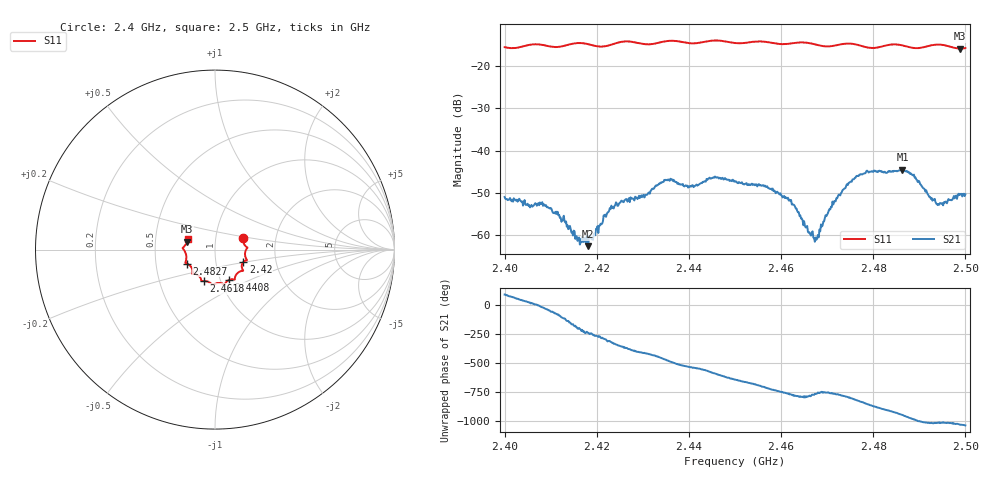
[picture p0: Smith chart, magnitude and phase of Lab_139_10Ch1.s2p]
# Hz S RI R 50
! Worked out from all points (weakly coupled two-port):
!   601 points, 2.4 GHz to 2.5 GHz, reference 50 ohm
!   highest |S21| = -44.46 dB at 2.4863 GHz (marker M1); lowest = -62.6 dB at 2.418 GHz (marker M2)
!   lowest |S11| = -15.8 dB at 2.4988 GHz (marker M3), VSWR 1.39, Z = 36.4 + j3.33 ohm
!   |S11| at or under -10 dB: start of sweep to end of sweep
!   S12 and S22 are empty: the file has one direction only
!   S11 on the Smith chart (normalised r, x): 2.4 GHz: 1.36, +0.17; 2.42 GHz: 1.36, -0.19; 2.4408 GHz: 1.10, -0.39; 2.4618 GHz: 0.84, -0.30; 2.4827 GHz: 0.72, -0.12; 2.5 GHz: 0.73, +0.09
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2.4e9  0.1561 0.062  -9.63e-05 0.00283  0 0  0 0
2.4085e9  0.1772 0.00581  0.00213 -0.000926  0 0  0 0
2.416667e9  0.178 -0.0594  -0.000606 0.000556  0 0  0 0
2.418e9  0.1724 -0.0608  -0.000393 0.00063  0 0  0 0
2.42e9  0.158 -0.0692  -8.02e-05 0.0012  0 0  0 0
2.423667e9  0.1508 -0.1049  0.00186 0.000916  0 0  0 0
2.433333e9  0.112 -0.1521  0.000296 -0.00394  0 0  0 0
2.440833e9  0.0788 -0.169  -0.00391 0.000153  0 0  0 0
2.445667e9  0.0522 -0.1947  -0.00307 0.00389  0 0  0 0
2.45e9  0.028 -0.1858  0.00107 0.00418  0 0  0 0
2.4565e9  -0.0163 -0.194  0.00383 0.000553  0 0  0 0
2.461833e9  -0.0603 -0.175  0.00162 -0.00208  0 0  0 0
2.466667e9  -0.077 -0.1685  0.000609 -0.000879  0 0  0 0
2.467667e9  -0.0794 -0.1608  0.000613 -0.000641  0 0  0 0
2.471e9  -0.1051 -0.1373  0.00165 -0.00139  0 0  0 0
2.476e9  -0.1259 -0.131  -0.00057 -0.00475  0 0  0 0
2.482667e9  -0.1573 -0.0779  -0.00548 0.00056  0 0  0 0
2.483333e9  -0.1613 -0.0763  -0.00563 0.00116  0 0  0 0
2.486333e9  -0.1633 -0.0663  -0.00378 0.00464  0 0  0 0
2.494e9  -0.1804 0.00827  0.00104 0.00202  0 0  0 0
2.498833e9  -0.1553 0.0445  0.0022 0.00217  0 0  0 0
2.5e9  -0.1521 0.0615  0.00237 0.00192  0 0  0 0
